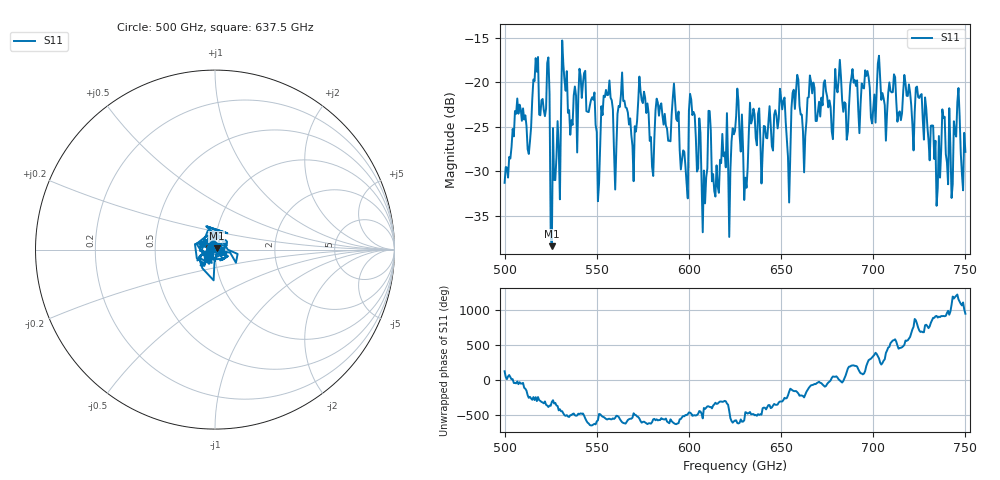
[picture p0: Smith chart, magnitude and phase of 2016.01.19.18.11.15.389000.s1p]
!Created with skrf (http://scikit-rf.org).
# GHz S RI R 50.0
!freq ReS11 ImS11
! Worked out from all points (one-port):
!   401 points, 500 GHz to 750 GHz, reference 50 ohm
!   lowest |S11| = -38.4 dB at 525.6 GHz (marker M1), VSWR 1.02, Z = 50.9 + j0.808 ohm
!   |S11| at or under -10 dB: start of sweep to end of sweep
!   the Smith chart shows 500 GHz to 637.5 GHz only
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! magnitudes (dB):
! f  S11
! 500 GHz  -31.3
! 506.9 GHz  -21.8
! 513.1 GHz  -28.1
! 516.9 GHz  -17.3
! 523.1 GHz  -17.8
! 525.6 GHz  -38.4
! 531.2 GHz  -15.3
! 542.5 GHz  -20.1
! 550.6 GHz  -33.4
! 555 GHz  -20.9
! 562.5 GHz  -22.8
! 593.8 GHz  -24.4
! 598.1 GHz  -29.5
! 601.9 GHz  -23.7
! 608.1 GHz  -29.9
! 610.6 GHz  -23.2
! 615 GHz  -29.4
! 625 GHz  -25.5
! 630.6 GHz  -30.7
! 634.4 GHz  -24.2
! 650.6 GHz  -23.1
! 653.8 GHz  -28.4
! 656.2 GHz  -21.2
! 687.5 GHz  -20.3
! 718.8 GHz  -21.6
! 735.6 GHz  -26.1
! 745.6 GHz  -22.3
! 750 GHz  -27.8
